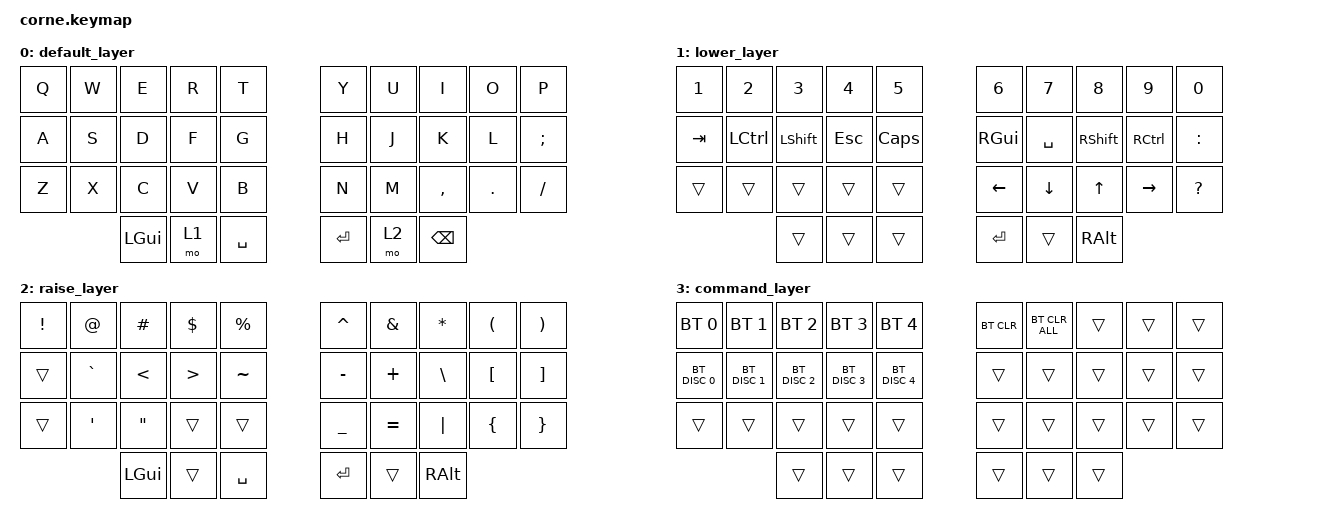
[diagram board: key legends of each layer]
/*
 * Copyright (c) 2020 The ZMK Contributors
 *
 * SPDX-License-Identifier: MIT
 */

#include <behaviors.dtsi>
#include <dt-bindings/zmk/keys.h>
#include <dt-bindings/zmk/bt.h>

/ {
  chosen {
    zmk,matrix_transform = &five_column_transform;
  };
};

/ {
    combos {
        compatible = "zmk,combos";
        combo_esc {
			require-prior-idle-ms = <1000>;
            timeout-ms = <50>;
            key-positions = <31 34>;
            bindings = <&mo 3>;
        };
    };
};

/ {
        keymap {
                compatible = "zmk,keymap";

                default_layer {
// -------------------------------------------------------------------
// |  Q  |  W  |  E  |  R  |  T  |   |  Y  |  U   | I    |  O  |  P  |
// |  A  |  S  |  D  |  F  |  G  |   |  H  |  J   | K    |  L  |  ;  |
// |  Z  |  X  |  C  |  V  |  B  |   |  N  |  M   | ,    |  .  |  /  |
//             | GUI | LWR | SPC |   | ENT | RSE  | BSPC |
                        bindings = <
   &kp Q &kp W &kp E    &kp R &kp T       &kp Y   &kp U  &kp I     &kp O   &kp P
   &kp A &kp S &kp D    &kp F &kp G       &kp H   &kp J  &kp K     &kp L   &kp SEMI
   &kp Z &kp X &kp C    &kp V &kp B       &kp N   &kp M  &kp COMMA &kp DOT &kp FSLH
               &kp LGUI &mo 1 &kp SPACE   &kp RET &mo 2  &kp BSPC
                        >;
                };

                lower_layer {
// ----------------------------------------------------------------------
// |  1  |  2   |  3   |  4  |  5   |   |  6  |  7  |  8   |  9   |  0  |
// | TAB | CTRL | SHFT | ESC | CAPS |   | GUI | SPC | SHFT | CTRL |  :  |
// |     |      |      |     |      |   | LFT | DWN |  UP  | RGT  |  ?  |
//              |      |     |      |   | ENT |     | ALT  |
                        bindings = <
   &kp N1  &kp N2    &kp N3    &kp N4  &kp N5   &kp N6   &kp N7    &kp N8    &kp N9    &kp N0
   &kp TAB &kp LCTRL &kp LSHFT &kp ESC &kp CLCK &kp RGUI &kp SPACE &kp RSHFT &kp RCTRL &kp COLON
   &trans  &trans    &trans    &trans  &trans   &kp LEFT &kp DOWN  &kp UP    &kp RIGHT &kp QMARK
                     &trans    &trans  &trans   &kp RET  &trans    &kp RALT
                        >;
                };

                raise_layer {
// -------------------------------------------------------------------
// |  !  |  @  |  #  |  $  |  %  |   |  ^  |  &  |   *   |  (  |  )  |
// |     |  `  |  <  |  >  |  ~  |   |  -  |  +  |   \   |  [  |  ]  |
// |     |  '  |  "  |     |     |   |  _  |  =  |  "|"  |  {  |  }  |
//             | GUI |     | SPC |   | ENT |     |  ALT  |
                        bindings = <
   &kp EXCL &kp AT    &kp HASH &kp DLLR  &kp PRCNT   &kp CARET &kp AMPS  &kp ASTRK &kp LPAR &kp RPAR
   &trans   &kp GRAVE &kp LT   &kp GT    &kp TILDE   &kp MINUS &kp PLUS  &kp BSLH  &kp LBKT &kp RBKT
   &trans   &kp SQT   &kp DQT  &trans    &trans      &kp UNDER &kp EQUAL &kp PIPE  &kp LBRC &kp RBRC
                      &kp LGUI &trans    &kp SPACE   &kp RET   &trans    &kp RALT
                        >;
                };

                command_layer {
// -------------------------------------------------------------------
// | BT1 | BT2 | BT3 | BT4 | BT5 |   | CLR | CLRA |     |     |     |
// | D1  | D2  | D3  | D4  | D5  |   |     |      |     |     |     |
// |     |     |     |     |     |   |     |      |     |     |     |
//             |     |     |     |   |     |      |     |
                        bindings = <
   &bt BT_SEL 0  &bt BT_SEL 1  &bt BT_SEL 2  &bt BT_SEL 3  &bt BT_SEL 4  &bt BT_CLR &bt BT_CLR_ALL &trans &trans &trans
   &bt BT_DISC 0 &bt BT_DISC 1 &bt BT_DISC 2 &bt BT_DISC 3 &bt BT_DISC 4 &trans     &trans         &trans &trans &trans
   &trans        &trans        &trans        &trans        &trans        &trans     &trans         &trans &trans &trans
                               &trans        &trans        &trans        &trans     &trans         &trans
                        >;
                };

        };

};

